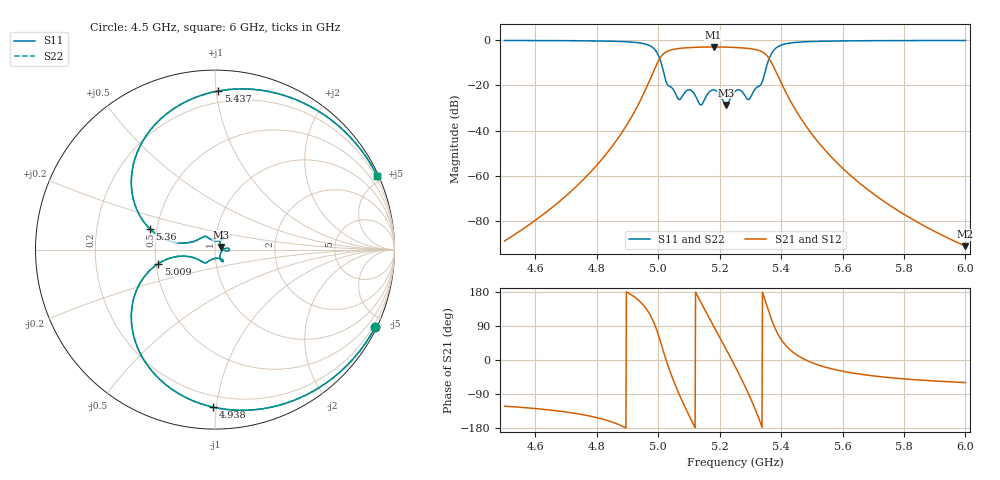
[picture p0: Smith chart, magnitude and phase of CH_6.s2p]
! # common Lossy filters synthesis common functions.  software, version 1.0
! # [S] parameters file in TouchStone format.
# GHz S dB
!Freq  S11(dB)  S11(ang)  S12(dB)  S12(ang)  S21(dB)  S21(ang)  S22(dB)  S22(ang)
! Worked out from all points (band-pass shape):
!   1000 points, 4.5 GHz to 6 GHz, reference 50 ohm
!   highest |S21| = -2.97 dB at 5.18 GHz (marker M1); lowest = -91.1 dB at 6 GHz (marker M2)
!   |S21| within 3 dB of the highest: 5.017 GHz to 5.348 GHz (330.5 MHz wide, 6.38 % of centre)
!   lowest |S11| = -28.6 dB at 5.221 GHz (marker M3), VSWR 1.08, Z = 53.5 + j1.63 ohm
!   |S11| at or under -10 dB: 5.01 GHz to 5.356 GHz (346.7 MHz wide, 6.69 % of centre)
!   |S22| runs from -28.6 to -0.1 dB; largest |S21 - S12| = 0
!   S11 on the Smith chart (normalised r, x): 4.5 GHz: 0.08, -4.39; 4.938 GHz: 0.13, -0.98; 5.009 GHz: 0.51, -0.09; 5.36 GHz: 0.46, +0.12; 5.437 GHz: 0.13, +1.01; 6 GHz: 0.08, +4.60
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4.5  -0.07 -25.6  -88.79 -121.9  -88.79 -121.9  -0.07 -25.6
4.600601  -0.10 -30.7  -79.61 -128.2  -79.61 -128.2  -0.10 -30.7
4.750751  -0.21 -43.1  -62.37 -143.8  -62.37 -143.8  -0.21 -43.1
4.938438  -1.13 -90.6  -27.59 155.9  -27.59 155.9  -1.13 -90.6
5  -6.49 -154.4  -9.30 67.6  -9.30 67.6  -6.49 -154.4
5.009009  -9.75 -166.1  -7.28 44.2  -7.28 44.2  -9.75 -166.1
5.036036  -20.30 -133.5  -4.51 -24.7  -4.51 -24.7  -20.30 -133.5
5.073574  -25.79 -70.0  -3.52 -100.2  -3.52 -100.2  -25.79 -70.0
5.124625  -25.49 -58.0  -3.08 174.4  -3.08 174.4  -25.49 -58.0
5.141141  -28.48 -19.2  -3.01 148.7  -3.01 148.7  -28.48 -19.2
5.18018  -21.94 -0.1  -2.97 89.7  -2.97 89.7  -21.94 -0.1
5.220721  -28.59 24.2  -3.02 28.9  -3.02 28.9  -28.59 24.2
5.250751  -22.52 60.0  -3.17 -17.4  -3.17 -17.4  -22.52 60.0
5.298799  -25.67 99.6  -3.68 -97.8  -3.68 -97.8  -25.67 99.6
5.331832  -19.98 140.3  -4.69 -163.6  -4.69 -163.6  -19.98 140.3
5.36036  -8.40 162.4  -7.95 127.0  -7.95 127.0  -8.40 162.4
5.385886  -3.17 128.5  -14.61 74.2  -14.61 74.2  -3.17 128.5
5.436937  -1.07 88.8  -28.45 21.7  -28.45 21.7  -1.07 88.8
5.5  -0.53 66.3  -41.48 -7.0  -41.48 -7.0  -0.53 66.3
5.750751  -0.14 35.1  -72.75 -46.3  -72.75 -46.3  -0.14 35.1
5.839339  -0.10 30.3  -80.15 -52.2  -80.15 -52.2  -0.10 30.3
6  -0.07 24.5  -91.11 -59.5  -91.11 -59.5  -0.07 24.5
